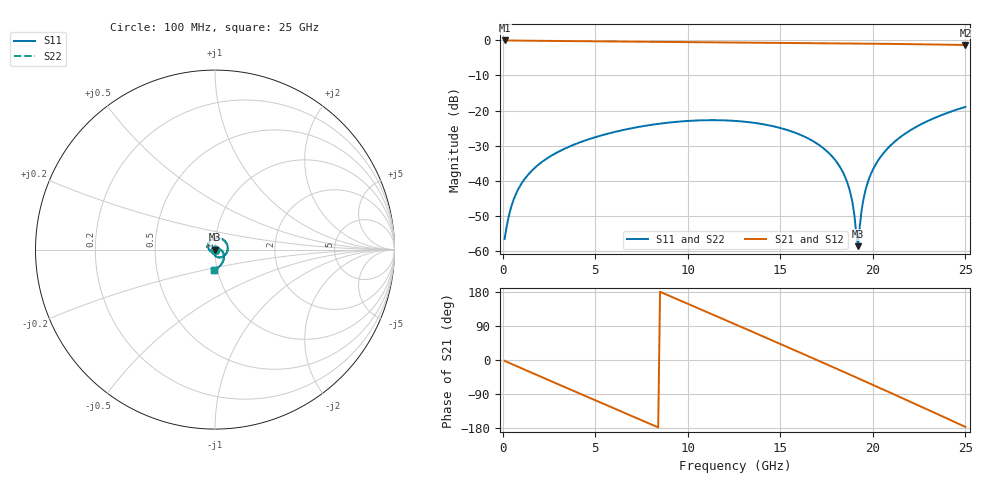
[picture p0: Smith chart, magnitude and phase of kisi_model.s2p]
! kisi B_s8_L1L8_d300: fast channel model (formula impedances, via model), up to 25 GHz
# Hz S RI R 50
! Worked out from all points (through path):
!   250 points, 100 MHz to 25 GHz, reference 50 ohm
!   highest |S21| = -0.02 dB at 100 MHz (marker M1); lowest = -1.3 dB at 25 GHz (marker M2)
!   group delay of S21, straight-line fit = 59.3 ps
!   lowest |S11| = -58.7 dB at 19.2 GHz (marker M3), VSWR 1.00, Z = 50.1 - j0.0647 ohm
!   |S11| at or under -10 dB: start of sweep to end of sweep
!   |S22| runs from -58.7 to -19.0 dB; largest |S21 - S12| = 0
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1e8  0.0012 -0.000858  0.9973 -0.0387  0.9973 -0.0387  0.0012 -0.000858
6e8  2.79e-06 -0.00547  0.9689 -0.2245  0.9689 -0.2245  2.79e-06 -0.00547
1.3e9  -0.00487 -0.0105  0.8742 -0.465  0.8742 -0.465  -0.00487 -0.0105
2.9e9  -0.0228 -0.0102  0.4613 -0.8658  0.4613 -0.8658  -0.0228 -0.0102
4.3e9  -0.0359 0.00477  -0.0258 -0.9731  -0.0258 -0.9731  -0.0359 0.00477
5.4e9  -0.0382 0.0232  -0.4045 -0.879  -0.4045 -0.879  -0.0382 0.0232
6.6e9  -0.0296 0.0445  -0.7364 -0.6181  -0.7364 -0.6181  -0.0296 0.0445
8.4e9  0.00348 0.0644  -0.9516 -0.0348  -0.9516 -0.0348  0.00348 0.0644
1.03e10  0.0475 0.0538  -0.7433 0.5801  -0.7433 0.5801  0.0475 0.0538
1.26e10  0.0709 0.00229  -0.0552 0.9305  -0.0552 0.9305  0.0709 0.00229
1.44e10  0.0501 -0.0354  0.5281 0.7584  0.5281 0.7584  0.0501 -0.0354
1.67e10  0.00427 -0.0372  0.9092 0.0943  0.9092 0.0943  0.00427 -0.0372
1.78e10  -0.00616 -0.0212  0.8655 -0.2778  0.8655 -0.2778  -0.00616 -0.0212
1.85e10  -0.00543 -0.00989  0.7599 -0.4925  0.7599 -0.4925  -0.00543 -0.00989
1.89e10  -0.00241 -0.00419  0.6752 -0.6003  0.6752 -0.6003  -0.00241 -0.00419
1.92e10  0.000966 -0.000646  0.6016 -0.672  0.6016 -0.672  0.000966 -0.000646
1.94e10  0.00369 0.00127  0.5481 -0.7149  0.5481 -0.7149  0.00369 0.00127
1.97e10  0.00837 0.00334  0.4622 -0.7713  0.4622 -0.7713  0.00837 0.00334
2.09e10  0.0307 -0.00012  0.0722 -0.8891  0.0722 -0.8891  0.0307 -0.00012
2.27e10  0.0501 -0.0422  -0.5061 -0.7192  -0.5061 -0.7192  0.0501 -0.0422
2.39e10  0.0345 -0.0829  -0.7672 -0.4096  -0.7672 -0.4096  0.0345 -0.0829
2.5e10  -0.00495 -0.1126  -0.8583 -0.0506  -0.8583 -0.0506  -0.00495 -0.1126
